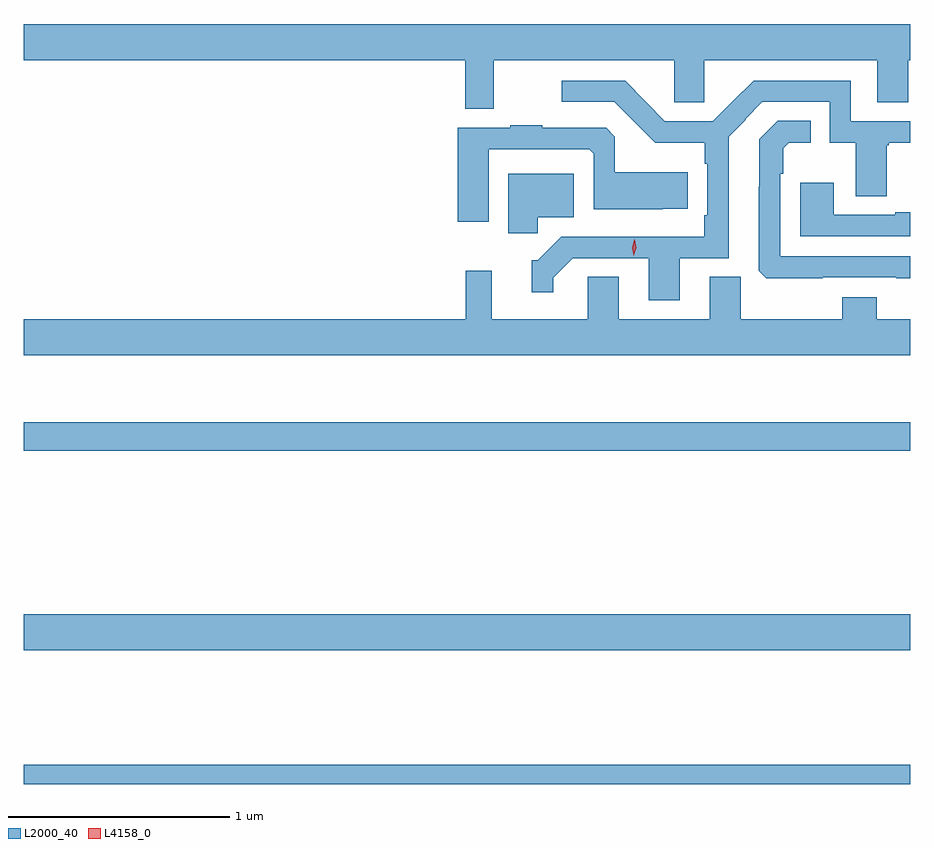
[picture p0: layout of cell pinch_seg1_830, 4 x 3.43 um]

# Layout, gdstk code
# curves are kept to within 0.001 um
import gdstk
lib = gdstk.Library(unit=1e-6, precision=1e-09)
def R(c, l, rs):  # rectangles x0, y0, x1, y1
    for r in rs: c.add(gdstk.rectangle(r[:2], r[2:], *l))
def P(c, l, *ps):  # polygons
    for p in ps: c.add(gdstk.Polygon(p, *l))
L2000_40 = (2000, 40)
L4158_0 = (4158, 0)

pinch_seg1_830 = lib.new_cell('pinch_seg1_830')
R(pinch_seg1_830, L2000_40, [(430.007,516.497,434.007,516.584), (430.007,517.1,434.007,517.264), (430.007,518.002,434.007,518.131)])
P(pinch_seg1_830, L2000_40, [(430.007,519.764),(431.998,519.764),(431.998,519.546),(432.127,519.546),(432.127,519.764),(432.942,519.764),(432.942,519.574),(433.079,519.574),(433.079,519.764),(433.859,519.764),(433.859,519.574),(433.999,519.574),(433.999,519.764),(434.007,519.764),(434.007,519.928),(430.007,519.928)],
  [(432.967,518.871),(433.189,518.871),(433.189,519.418),(433.266,519.495),(433.263,519.498),(433.341,519.576),(433.644,519.576),(433.644,519.392),(433.763,519.392),(433.763,519.151),(433.903,519.151),(433.903,519.381),(433.911,519.381),(433.911,519.391),(434.007,519.391),(434.007,519.489),(433.74,519.489),(433.74,519.672),(433.301,519.672),(433.116,519.489),(432.9,519.489),(432.813,519.576),(432.815,519.578),(432.721,519.672),(432.435,519.672),(432.435,519.576),(432.672,519.576),(432.856,519.392),(433.08,519.392),(433.08,519.296),(433.092,519.296),(433.092,519.064),(433.078,519.064),(433.078,518.967),(432.432,518.967),(432.327,518.862),(432.299,518.862),(432.299,518.718),(432.397,518.718),(432.397,518.783),(432.485,518.871),(432.827,518.871),(432.827,518.682),(432.967,518.682)],
  [(433.613,518.784),(433.945,518.784),(433.945,518.78),(434.007,518.78),(434.007,518.88),(433.422,518.88),(433.422,519.251),(433.434,519.251),(433.434,519.366),(433.46,519.392),(433.559,519.392),(433.559,519.491),(433.409,519.491),(433.326,519.408),(433.325,518.813),(433.357,518.78),(433.613,518.78)],
  [(432.106,519.363),(432.558,519.363),(432.579,519.342),(432.579,519.092),(433.003,519.093),(433.003,519.259),(432.675,519.259),(432.675,519.42),(432.636,519.459),(432.347,519.459),(432.347,519.472),(432.202,519.472),(432.202,519.459),(431.966,519.459),(431.966,519.036),(432.106,519.036)],
  [(432.326,519.056),(432.49,519.056),(432.49,519.253),(432.194,519.253),(432.194,518.984),(432.326,518.984)],
  [(434.007,519.078),(433.94,519.078),(433.94,519.066),(433.663,519.066),(433.663,519.211),(433.511,519.211),(433.511,518.97),(434.007,518.97)],
  [(434.007,518.596),(433.857,518.596),(433.857,518.695),(433.702,518.695),(433.702,518.596),(433.243,518.596),(433.243,518.786),(433.103,518.786),(433.103,518.596),(432.691,518.596),(432.691,518.786),(432.552,518.786),(432.552,518.596),(432.119,518.596),(432.119,518.815),(432.001,518.815),(432.001,518.596),(430.007,518.596),(430.007,518.432),(434.007,518.432)])
P(pinch_seg1_830, L4158_0, [(432.76,518.882),(432.76,518.883),(432.752,518.919),(432.763,518.955),(432.764,518.955),(432.764,518.955),(432.772,518.918),(432.76,518.883)])

lib.write_gds('pinch_seg1_830.gds')
